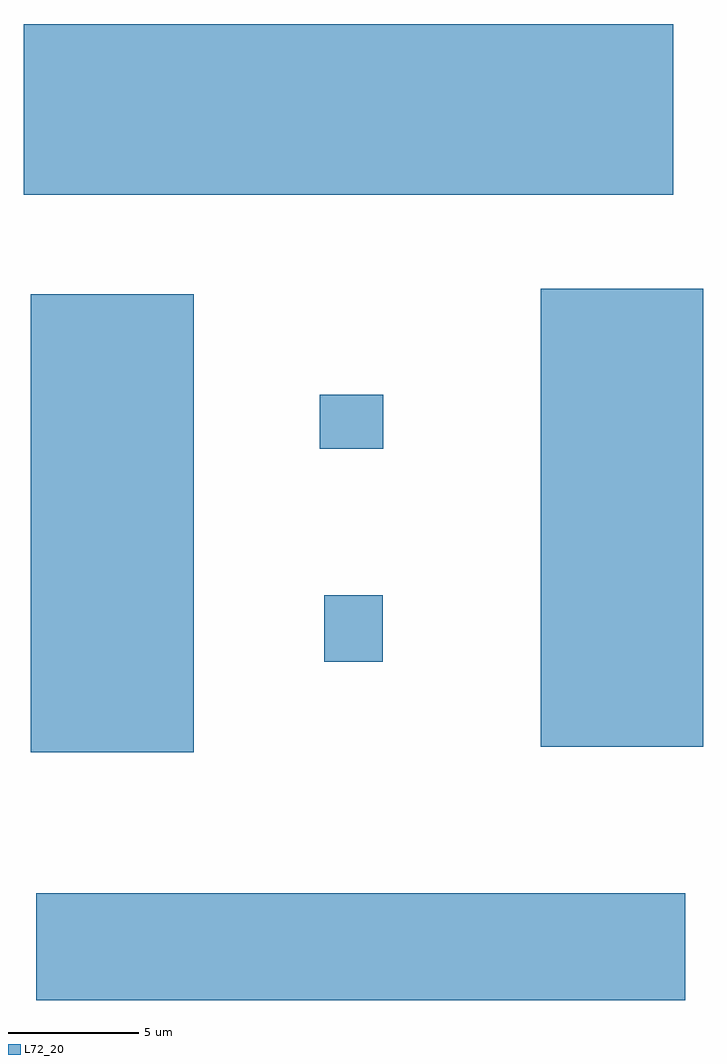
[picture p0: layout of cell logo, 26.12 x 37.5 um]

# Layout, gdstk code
import gdstk
lib = gdstk.Library(unit=1e-6, precision=1e-09)
def R(c, l, rs):  # rectangles x0, y0, x1, y1
    for r in rs: c.add(gdstk.rectangle(r[:2], r[2:], *l))
L72_20 = (72, 20)

logo = lib.new_cell('logo')
R(logo, L72_20, [(-11.47,-21.58,13.46,-17.47), (-11.68,-12.07,-5.43,5.53), (7.91,-11.85,14.16,5.75), (-0.41,-8.59,1.84,-6.03), (-0.59,-0.4,1.86,1.67), (-11.96,9.35,13,15.92)])

lib.write_gds('logo.gds')
